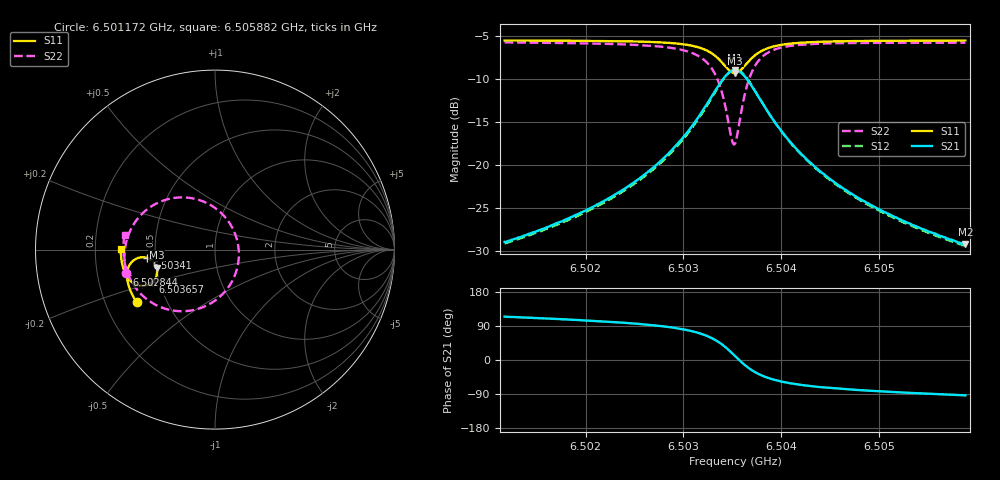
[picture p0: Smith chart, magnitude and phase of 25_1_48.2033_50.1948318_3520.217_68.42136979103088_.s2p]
#  HZ  S  RI  R  50.00
! Rohde & Schwarz Vector Network Analyzer
! Rohde-Schwarz,ZNB20-2Port,1311601062101988,3.16
! Created: UTC 3/20/2024, 11:37:07 AM
! freq[Hz]  re:S11  im:S11  re:S21  im:S21  re:S12  im:S12  re:S22  im:S22
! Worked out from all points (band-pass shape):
!   401 points, 6.501172 GHz to 6.505882 GHz, reference 50 ohm
!   highest |S21| = -9.01 dB at 6.503527 GHz (marker M1); lowest = -29.2 dB at 6.505882 GHz (marker M2)
!   |S21| within 3 dB of the highest: 6.503291 GHz to 6.503762 GHz (470.7 kHz wide, 0.00724 % of centre)
!   lowest |S11| = -9.4 dB at 6.503527 GHz (marker M3), VSWR 2.03, Z = 25 - j5.66 ohm
!   |S11| at or under -10 dB: nowhere
!   |S22| runs from -17.6 to -5.8 dB; largest |S21 - S12| = 0.012
!   S11 on the Smith chart (normalised r, x): 6.501172 GHz: 0.34, -0.27; 6.502844 GHz: 0.33, -0.12; 6.50341 GHz: 0.45, -0.05; 6.503657 GHz: 0.46, -0.20; 6.505882 GHz: 0.31, +0.00
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6.5011723e9  -0.4363 -0.2947  -0.0149 0.0327  -0.0129 0.0326  -0.4954 -0.1328
6.5019612e9  -0.4687 -0.2344  -0.0138 0.0515  -0.0111 0.0509  -0.5046 -0.0449
6.5023733e9  -0.4825 -0.1966  -0.0107 0.0707  -0.00759 0.0694  -0.4996 0.0169
6.5027501e9  -0.4904 -0.1529  -8.21e-05 0.1034  0.00354 0.1007  -0.4762 0.0975
6.5028443e9  -0.4908 -0.1395  0.0057 0.116  0.00953 0.1128  -0.4629 0.1243
6.5030445e9  -0.4848 -0.1047  0.031 0.1528  0.0346 0.148  -0.4106 0.1954
6.5031858e9  -0.4682 -0.0741  0.0731 0.1881  0.0757 0.1819  -0.3291 0.2556
6.5033153e9  -0.4303 -0.0471  0.1541 0.2142  0.1546 0.2078  -0.1818 0.291
6.5034095e9  -0.3813 -0.0451  0.2496 0.1957  0.2496 0.1911  -0.0163 0.2433
6.503492e9  -0.3368 -0.0765  0.3304 0.1164  0.3332 0.1123  0.1126 0.0866
6.5035273e9  -0.3257 -0.1  0.3482 0.0651  0.3521 0.0596  0.1327 -0.01
6.5035508e9  -0.3228 -0.1171  0.3513 0.0289  0.3556 0.0219  0.1292 -0.0765
6.5035862e9  -0.3252 -0.1424  0.3428 -0.0234  0.3467 -0.0326  0.099 -0.1694
6.5036568e9  -0.3488 -0.1812  0.2929 -0.1023  0.2929 -0.1144  -0.0184 -0.2966
6.503751e9  -0.3914 -0.2015  0.2109 -0.1462  0.2058 -0.157  -0.1855 -0.3433
6.5038217e9  -0.4186 -0.2015  0.1615 -0.1511  0.1543 -0.1595  -0.2782 -0.3292
6.5039041e9  -0.4424 -0.1942  0.1194 -0.1446  0.1118 -0.1504  -0.3516 -0.2959
6.5040689e9  -0.4723 -0.173  0.0697 -0.1225  0.0628 -0.1249  -0.4321 -0.2259
6.5043162e9  -0.4952 -0.1417  0.0357 -0.0944  0.0305 -0.095  -0.481 -0.1457
6.5046812e9  -0.5114 -0.1021  0.0154 -0.0686  0.0118 -0.0683  -0.5046 -0.0668
6.5051051e9  -0.5205 -0.062  0.00548 -0.0516  0.00302 -0.0507  -0.5108 -0.00297
6.5058823e9  -0.526 0.00493  -0.00199 -0.0346  -0.00338 -0.0337  -0.5039 0.0831
